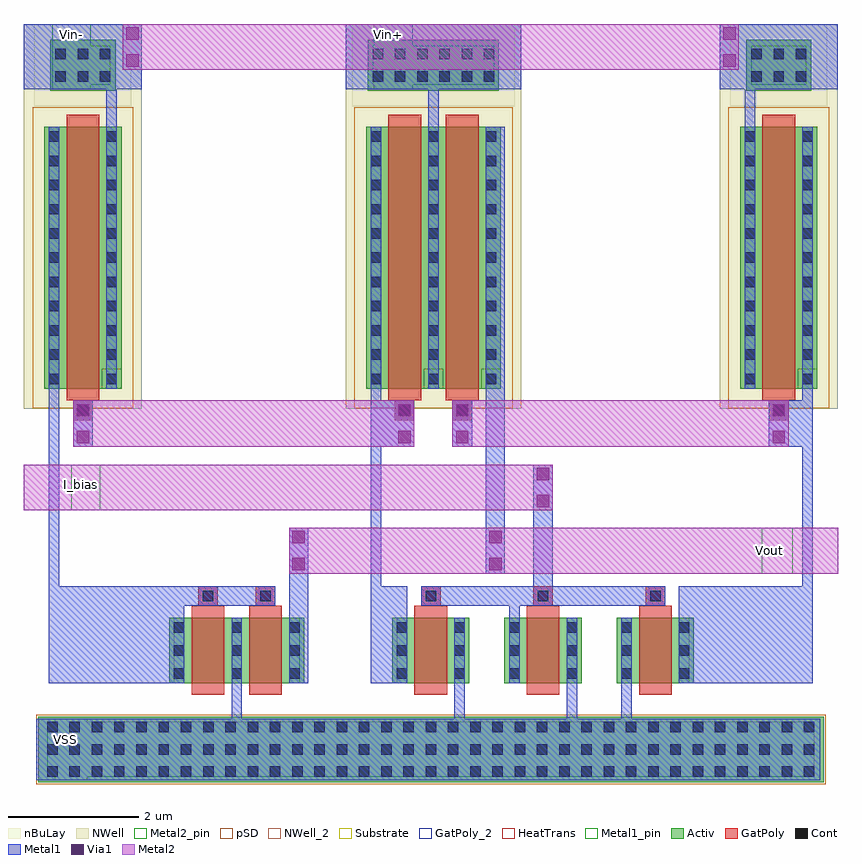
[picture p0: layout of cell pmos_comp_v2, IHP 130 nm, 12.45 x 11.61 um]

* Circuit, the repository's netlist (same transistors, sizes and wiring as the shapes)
** sch_path: /home/designer/shared/designs/SSDOR_1.2V_v3/components/pmos_comp/pmos_comp_v2.sch
.subckt pmos_comp_v2 Vin- Vin+ Vout I_bias VSS
*.PININFO I_bias:I Vin-:I Vin+:I VSS:I Vout:O
M1 net2 net1 Vin- well3 sg13_lv_pmos w=4u l=0.5u ng=1 m=1
M2 net1 net1 Vin+ well1 sg13_lv_pmos w=4u l=0.5u ng=1 m=1
M3 Vout net3 Vin+ well1 sg13_lv_pmos w=4u l=0.5u ng=1 m=1
M4 net3 net3 Vin- well2 sg13_lv_pmos w=4u l=0.5u ng=1 m=1
M5 net2 net2 VSS sub! sg13_lv_nmos w=1u l=0.5u ng=1 m=1
M6 Vout net2 VSS sub! sg13_lv_nmos w=1u l=0.5u ng=1 m=1
M8 net1 I_bias VSS sub! sg13_lv_nmos w=1u l=0.5u ng=1 m=1
M7 I_bias I_bias VSS sub! sg13_lv_nmos w=1u l=0.5u ng=1 m=1
M9 net3 I_bias VSS sub! sg13_lv_nmos w=1u l=0.5u ng=1 m=1
R1 Vin+ well1 ntap1 A=1.56e-12 P=5.56e-06
R4 VSS sub! ptap1 A=1.2e-11 P=2.6e-05
R2 Vin- well2 ntap1 A=7.8e-13 P=3.56e-06
R3 Vin- well3 ntap1 A=7.8e-13 P=3.56e-06
.ends

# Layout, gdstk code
from math import pi, radians
import gdstk
lib = gdstk.Library(unit=1e-6, precision=5e-09)
def R(c, l, rs):  # rectangles x0, y0, x1, y1
    for r in rs: c.add(gdstk.rectangle(r[:2], r[2:], *l))
def A(c, l, x, y, w, h, nx, ny, dx, dy):  # array of equal rectangles
    R(c, l, [(x+i*dx, y+j*dy, x+i*dx+w, y+j*dy+h) for i in range(nx) for j in range(ny)])
def P(c, l, *ps):  # polygons
    for p in ps: c.add(gdstk.Polygon(p, *l))
Activ = (1, 0)
GatPoly = (5, 0)
GatPoly_2 = (5, 2)
Cont = (6, 0)
Metal1 = (8, 0)
Metal1_pin = (8, 2)
Metal2 = (10, 0)
Metal2_pin = (10, 2)
pSD = (14, 0)
Via1 = (19, 0)
NWell = (31, 0)
NWell_2 = (31, 2)
nBuLay = (32, 0)
Substrate = (40, 0)
HeatTrans = (51, 0)

ntap1 = lib.new_cell('ntap1')
R(ntap1, Activ, [(0,0,2,0.78)])
A(ntap1, Cont, 0.07, 0.14, 0.16, 0.16, 6, 2, 0.34, 0.34)
R(ntap1, Metal1, [(0.07,0.09,1.93,0.69)])
R(ntap1, Metal1_pin, [(0.07,0.09,1.93,0.69), (0.07,0.14,1.93,0.64)])
R(ntap1, NWell, [(-0.24,-0.24,2.24,1.02), (0,0,2,0.78)])
R(ntap1, NWell_2, [(0,0,2,0.78)])
R(ntap1, nBuLay, [(-0.24,-0.24,2.24,1.02)])
ntap1.add(gdstk.Label('well', (1,0.01), layer=63, texttype=0))
ntap1.add(gdstk.Label('well', (1,0.01), layer=31, texttype=0))

ntap1_2 = lib.new_cell('ntap1$2')
R(ntap1_2, Activ, [(0,0,1,0.78)])
A(ntap1_2, Cont, 0.08, 0.14, 0.16, 0.16, 3, 2, 0.34, 0.34)
R(ntap1_2, Metal1, [(0.08,0.09,0.92,0.69)])
R(ntap1_2, Metal1_pin, [(0.08,0.09,0.92,0.69), (0.08,0.14,0.92,0.64)])
R(ntap1_2, NWell, [(-0.24,-0.24,1.24,1.02), (0,0,1,0.78)])
R(ntap1_2, NWell_2, [(0,0,1,0.78)])
R(ntap1_2, nBuLay, [(-0.24,-0.24,1.24,1.02)])
ntap1_2.add(gdstk.Label('well', (0.5,0.01), layer=63, texttype=0))
ntap1_2.add(gdstk.Label('well', (0.5,0.01), layer=31, texttype=0))

pmos_2 = lib.new_cell('pmos$2')
R(pmos_2, Activ, [(0,0,0.3,0.3), (0,0,1.18,4), (0.88,0,1.18,0.3)])
R(pmos_2, GatPoly, [(0.34,-0.18,0.84,4.18), (0.34,-0.18,0.84,4.18)])
A(pmos_2, Cont, 0.07, 0.07, 0.16, 0.16, 1, 11, 0, 0.37)
A(pmos_2, Cont, 0.95, 0.07, 0.16, 0.16, 1, 11, 0, 0.37)
R(pmos_2, Metal1, [(0.07,0,0.23,4), (0.07,0,0.23,4), (0.95,0,1.11,4), (0.95,0,1.11,4)])
R(pmos_2, pSD, [(-0.18,-0.3,1.36,4.3)])
R(pmos_2, NWell, [(-0.31,-0.31,1.49,4.31)])
R(pmos_2, Substrate, [(0.88,0,1.18,0.3)])
R(pmos_2, HeatTrans, [(0.34,-0.18,0.84,4.18)])
pmos_2.add(gdstk.Label('pmos', (0.59,2), layer=63, texttype=0))
pmos_2.add(gdstk.Label('pmos', (0.59,2), layer=51, texttype=0))

via_stack = lib.new_cell('via_stack')
R(via_stack, Metal1, [(-0.35,-0.145,0.35,0.145)])
R(via_stack, Metal2, [(-0.35,-0.145,0.35,0.145)])
R(via_stack, Via1, [(-0.3,-0.095,-0.11,0.095), (0.11,-0.095,0.3,0.095)])

nmos_1 = lib.new_cell('nmos$1')
R(nmos_1, Activ, [(0,0,0.3,0.3), (0,0,1.18,1), (0.88,0,1.18,0.3)])
R(nmos_1, GatPoly, [(0.34,-0.18,0.84,1.18)])
R(nmos_1, GatPoly_2, [(0.34,-0.18,0.84,1.18)])
A(nmos_1, Cont, 0.07, 0.07, 0.16, 0.16, 1, 3, 0, 0.35)
A(nmos_1, Cont, 0.95, 0.07, 0.16, 0.16, 1, 3, 0, 0.35)
R(nmos_1, Metal1, [(0.07,0,0.23,1), (0.95,0,1.11,1)])
R(nmos_1, Metal1_pin, [(0.07,0,0.23,1), (0.95,0,1.11,1)])
R(nmos_1, HeatTrans, [(0.34,-0.18,0.84,1.18)])
nmos_1.add(gdstk.Label('nmos', (0.59,0.5), layer=63, texttype=0))
nmos_1.add(gdstk.Label('nmos', (0.59,0.5), layer=51, texttype=0))

ptap1_1 = lib.new_cell('ptap1$1')
R(ptap1_1, Activ, [(0,0,12,1)])
A(ptap1_1, Cont, 0.14, 0.08, 0.16, 0.16, 35, 3, 0.34, 0.34)
R(ptap1_1, Metal1, [(0.14,0.03,11.86,0.97), (0.14,0.08,11.86,0.92)])
R(ptap1_1, Metal1_pin, [(0.14,0.08,11.86,0.92)])
R(ptap1_1, pSD, [(-0.03,-0.03,12.03,1.03)])
R(ptap1_1, Substrate, [(0,0,12,1)])
ptap1_1.add(gdstk.Label('sub!', (6,0.01), layer=63, texttype=0))
ptap1_1.add(gdstk.Label('sub!', (6,0.01), layer=40, texttype=0))

via_stack_2 = lib.new_cell('via_stack$2')
R(via_stack_2, Metal1, [(-0.145,-0.35,0.145,0.35)])
R(via_stack_2, Metal2, [(-0.145,-0.35,0.145,0.35)])
R(via_stack_2, Via1, [(-0.095,-0.3,0.095,-0.11), (-0.095,0.11,0.095,0.3)])

pmos_comp_v2 = lib.new_cell('pmos_comp_v2')
A(pmos_comp_v2, GatPoly, -0.325, -5.805, 0.3, 0.3, 3, 1, 1.715, 0)
R(pmos_comp_v2, GatPoly, [(-3.73,-5.805,-3.43,-5.505), (-2.85,-5.805,-2.55,-5.505), (-5.64,-2.965,-5.34,-2.665), (-0.725,-2.965,-0.425,-2.665), (0.155,-2.965,0.455,-2.665), (4.99,-2.965,5.29,-2.665)])
A(pmos_comp_v2, Cont, -0.255, -5.735, 0.16, 0.16, 3, 1, 1.715, 0)
R(pmos_comp_v2, Cont, [(-3.66,-5.735,-3.5,-5.575), (-2.78,-5.735,-2.62,-5.575), (-5.57,-2.895,-5.41,-2.735), (-0.655,-2.895,-0.495,-2.735), (0.225,-2.895,0.385,-2.735), (5.06,-2.895,5.22,-2.735)])
R(pmos_comp_v2, Metal1, [(-6.205,-8.465,5.77,-7.525), (-3.22,-7.995,-3.06,-5.985), (0.185,-7.995,0.345,-5.985), (1.9,-7.995,2.06,-5.985), (2.735,-7.995,2.895,-5.985), (-2.34,-6.985,-2.05,-4.61), (0.665,-5.31,0.955,1.515), (-5.64,-3.37,-5.34,-2.665), (-1.095,-3.37,-0.425,-2.665), (0.155,-3.37,0.455,-2.665), (4.99,-3.37,5.66,-2.665), (-5.13,-2.485,-4.97,2.205), (-0.215,-2.485,-0.055,2.205), (4.62,-2.485,4.78,2.205), (-6.39,2.085,-4.59,3.085), (-1.475,2.085,1.205,3.085), (4.24,2.085,6.04,3.085)])
P(pmos_comp_v2, Metal1, [(1.02,-6.985),(1.02,-5.805),(-0.325,-5.805),(-0.325,-5.505),(1.39,-5.505),(1.39,-3.645),(1.69,-3.645),(1.69,-5.505),(3.405,-5.505),(3.405,-5.805),(1.18,-5.805),(1.18,-6.985)],
  [(-1.095,-6.985),(-1.095,1.515),(-0.935,1.515),(-0.935,-5.505),(-0.535,-5.505),(-0.535,-6.985)],
  [(3.615,-6.985),(3.615,-5.505),(5.5,-5.505),(5.5,1.515),(5.66,1.515),(5.66,-6.985)],
  [(-6.01,-6.985),(-6.01,1.515),(-5.85,1.515),(-5.85,-5.505),(-2.55,-5.505),(-2.55,-5.805),(-3.94,-5.805),(-3.94,-6.985)])
R(pmos_comp_v2, Metal1_pin, [(-5.92,-8.465,-5.425,-7.525), (-5.96,2.085,-5.37,3.085), (-1.045,2.085,-0.455,3.085)])
R(pmos_comp_v2, Metal2, [(-2.34,-5.31,6.05,-4.61), (-6.395,-4.345,1.69,-3.645), (-5.64,-3.37,-0.425,-2.665), (0.155,-3.37,5.29,-2.665), (-4.88,2.385,4.53,3.085)])
R(pmos_comp_v2, Metal2_pin, [(4.88,-5.31,5.355,-4.61), (-5.67,-4.345,-5.225,-3.645)])
R(pmos_comp_v2, NWell, [(-6.39,-2.795,-4.59,3.085), (-1.475,-2.795,1.205,3.085), (4.24,-2.795,6.04,3.085)])
pmos_comp_v2.add(gdstk.Reference(ntap1, (-1.135,2.065)))
pmos_comp_v2.add(gdstk.Reference(ntap1_2, (-5.99,2.065)))
pmos_comp_v2.add(gdstk.Reference(pmos_2, (-0.285,-2.485)))
pmos_comp_v2.add(gdstk.Reference(pmos_2, (-6.08,-2.485)))
pmos_comp_v2.add(gdstk.Reference(pmos_2, (-1.165,-2.485)))
pmos_comp_v2.add(gdstk.Reference(via_stack, (-5.49,-3.02), rotation=3*pi/2))
pmos_comp_v2.add(gdstk.Reference(via_stack, (-0.575,-3.02), rotation=3*pi/2))
pmos_comp_v2.add(gdstk.Reference(ntap1_2, (4.64,2.065)))
pmos_comp_v2.add(gdstk.Reference(pmos_2, (4.55,-2.485)))
pmos_comp_v2.add(gdstk.Reference(via_stack, (5.14,-3.02), rotation=3*pi/2, x_reflection=True))
pmos_comp_v2.add(gdstk.Reference(via_stack, (0.305,-3.02), rotation=3*pi/2))
pmos_comp_v2.add(gdstk.Reference(nmos_1, (-4.17,-6.985)))
pmos_comp_v2.add(gdstk.Reference(nmos_1, (-3.29,-6.985)))
pmos_comp_v2.add(gdstk.Reference(ptap1_1, (-6.175,-8.495)))
pmos_comp_v2.add(gdstk.Reference(nmos_1, (-0.765,-6.985)))
pmos_comp_v2.add(gdstk.Reference(nmos_1, (0.95,-6.985)))
pmos_comp_v2.add(gdstk.Reference(nmos_1, (2.665,-6.985)))
pmos_comp_v2.add(gdstk.Reference(via_stack_2, (-4.735,2.735)))
pmos_comp_v2.add(gdstk.Reference(via_stack_2, (4.385,2.735)))
pmos_comp_v2.add(gdstk.Reference(via_stack_2, (1.54,-3.995)))
pmos_comp_v2.add(gdstk.Reference(via_stack_2, (-2.195,-4.96)))
pmos_comp_v2.add(gdstk.Reference(via_stack_2, (0.81,-4.96)))
pmos_comp_v2.add(gdstk.Label('VSS', (-5.76,-7.85), layer=8, texttype=25))
pmos_comp_v2.add(gdstk.Label('Vin+', (-0.815,2.925), layer=8, texttype=25))
pmos_comp_v2.add(gdstk.Label('Vin-', (-5.665,2.925), layer=8, texttype=25))
pmos_comp_v2.add(gdstk.Label('I_bias', (-5.52,-3.95), layer=10, texttype=25))
pmos_comp_v2.add(gdstk.Label('Vout', (5,-4.96), layer=10, texttype=25))

lib.write_gds('pmos_comp_v2.gds')
